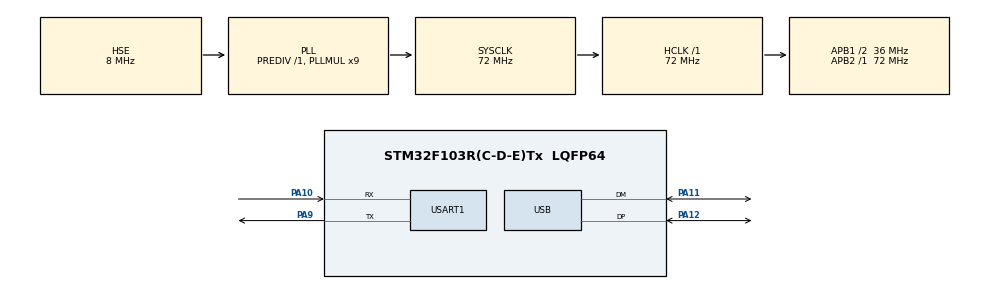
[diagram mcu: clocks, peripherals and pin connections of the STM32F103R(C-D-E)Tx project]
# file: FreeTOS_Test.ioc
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FREERTOS.Tasks01=defaultTask,0,128,StartDefaultTask,Default,NULL,Dynamic,NULL,NULL
Mcu.Family=STM32F1
Mcu.Name=STM32F103R(C-D-E)Tx
Mcu.Package=LQFP64
NVIC.PriorityGroup=NVIC_PRIORITYGROUP_4
NVIC.TIM4_IRQn=true\:15\:0\:false\:false\:true\:false\:false\:true\:true
NVIC.TimeBase=TIM4_IRQn
NVIC.TimeBaseIP=TIM4
PA10.Mode=Asynchronous
PA10.Signal=USART1_RX
PA11.Mode=Device
PA11.Signal=USB_DM
PA12.Mode=Device
PA12.Signal=USB_DP
PA13.Mode=Serial_Wire
PA13.Signal=SYS_JTMS-SWDIO
PA14.Mode=Serial_Wire
PA14.Signal=SYS_JTCK-SWCLK
PA9.Mode=Asynchronous
PA9.Signal=USART1_TX
PD0-OSC_IN.Mode=HSE-External-Oscillator
PD0-OSC_IN.Signal=RCC_OSC_IN
PD1-OSC_OUT.Mode=HSE-External-Oscillator
PD1-OSC_OUT.Signal=RCC_OSC_OUT
ProjectManager.HeapSize=0x200
ProjectManager.StackSize=0x400
ProjectManager.TargetToolchain=Makefile
RCC.AHBFreq_Value=72000000
RCC.APB1CLKDivider=RCC_HCLK_DIV2
RCC.APB1Freq_Value=36000000
RCC.APB1TimFreq_Value=72000000
RCC.APB2Freq_Value=72000000
RCC.APB2TimFreq_Value=72000000
RCC.HCLKFreq_Value=72000000
RCC.PLLMUL=RCC_PLL_MUL9
RCC.SYSCLKFreq_VALUE=72000000
RCC.SYSCLKSource=RCC_SYSCLKSOURCE_PLLCLK
RCC.USBFreq_Value=48000000
RCC.USBPrescaler=RCC_USBCLKSOURCE_PLL_DIV1_5
USART1.VirtualMode=VM_ASYNC
VP_FREERTOS_VS_CMSIS_V1.Mode=CMSIS_V1
VP_SYS_VS_tim4.Mode=TIM4
board=custom

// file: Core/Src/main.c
/* USER CODE BEGIN Header */
/**
  ******************************************************************************
  * @file           : main.c
  * @brief          : Main program body
  ******************************************************************************
  * @attention
  *
  * Copyright (c) 2023 STMicroelectronics.
  * All rights reserved.
  *
  * This software is licensed under terms that can be found in the LICENSE file
  * in the root directory of this software component.
  * If no LICENSE file comes with this software, it is provided AS-IS.
  *
  ******************************************************************************
  */
/* USER CODE END Header */
#include "main.h"
#include "cmsis_os.h"

/* USER CODE BEGIN Includes */
#include "usb_device.h"
int _write(int file, char *data, int len);

/* USER CODE END Includes */

UART_HandleTypeDef huart1;

osThreadId defaultTaskHandle;
/* USER CODE BEGIN PV */
osThreadId AboveNormalHandle;
/* USER CODE END PV */

void SystemClock_Config(void);
static void MX_GPIO_Init(void);
static void MX_USART1_UART_Init(void);

void StartDefaultTask(void const * argument);

/* USER CODE BEGIN PFP */
void TaskAboveNormal(void const *parameter);

/* USER CODE END PFP */

int main(void)
{

  /* MCU Configuration--------------------------------------------------------*/

  /* Reset of all peripherals, Initializes the Flash interface and the Systick. */
  HAL_Init();

  /* Configure the system clock */
  SystemClock_Config();

  /* Initialize all configured peripherals */
  MX_GPIO_Init();
  MX_USART1_UART_Init();

  /* USER CODE BEGIN 2 */
  MX_USB_DEVICE_Init();

  HAL_Delay(4000);
  printf("FreeRTOS ready\n");

  /* USER CODE END 2 */

  /* Create the thread(s) */
  /* definition and creation of defaultTask */
  osThreadDef(defaultTask, StartDefaultTask, osPriorityNormal, 0, 128);
  defaultTaskHandle = osThreadCreate(osThread(defaultTask), NULL);

  /* USER CODE BEGIN RTOS_THREADS */
  /* add threads, ... */
  /* definition and creation of task 1 */

  osThreadDef(Task1, TaskAboveNormal, osPriorityAboveNormal, 0, 128);
  AboveNormalHandle = osThreadCreate(osThread(Task1), NULL);

  /* USER CODE END RTOS_THREADS */

  /* Start scheduler */
  osKernelStart();

  uint32_t tick;
  /* We should never get here as control is now taken by the scheduler */
  /* Infinite loop */
  /* USER CODE BEGIN WHILE */
  while (1)
  {
    if(HAL_GetTick() - tick > 1000)
    {
      printf("tick\n");
      tick = HAL_GetTick();
    }

    /* USER CODE END WHILE */

  }
}

void SystemClock_Config(void)
{
  RCC_OscInitTypeDef RCC_OscInitStruct = {0};
  RCC_ClkInitTypeDef RCC_ClkInitStruct = {0};
  RCC_PeriphCLKInitTypeDef PeriphClkInit = {0};

  /** Initializes the RCC Oscillators according to the specified parameters
  * in the RCC_OscInitTypeDef structure.
  */
  RCC_OscInitStruct.OscillatorType = RCC_OSCILLATORTYPE_HSE;
  RCC_OscInitStruct.HSEState = RCC_HSE_ON;
  RCC_OscInitStruct.HSEPredivValue = RCC_HSE_PREDIV_DIV1;
  RCC_OscInitStruct.HSIState = RCC_HSI_ON;
  RCC_OscInitStruct.PLL.PLLState = RCC_PLL_ON;
  RCC_OscInitStruct.PLL.PLLSource = RCC_PLLSOURCE_HSE;
  RCC_OscInitStruct.PLL.PLLMUL = RCC_PLL_MUL9;
  if (HAL_RCC_OscConfig(&RCC_OscInitStruct) != HAL_OK)
  {
    Error_Handler();
  }

  /** Initializes the CPU, AHB and APB buses clocks
  */
  RCC_ClkInitStruct.ClockType = RCC_CLOCKTYPE_HCLK|RCC_CLOCKTYPE_SYSCLK
                              |RCC_CLOCKTYPE_PCLK1|RCC_CLOCKTYPE_PCLK2;
  RCC_ClkInitStruct.SYSCLKSource = RCC_SYSCLKSOURCE_PLLCLK;
  RCC_ClkInitStruct.AHBCLKDivider = RCC_SYSCLK_DIV1;
  RCC_ClkInitStruct.APB1CLKDivider = RCC_HCLK_DIV2;
  RCC_ClkInitStruct.APB2CLKDivider = RCC_HCLK_DIV1;

  if (HAL_RCC_ClockConfig(&RCC_ClkInitStruct, FLASH_LATENCY_2) != HAL_OK)
  {
    Error_Handler();
  }
  PeriphClkInit.PeriphClockSelection = RCC_PERIPHCLK_USB;
  PeriphClkInit.UsbClockSelection = RCC_USBCLKSOURCE_PLL_DIV1_5;
  if (HAL_RCCEx_PeriphCLKConfig(&PeriphClkInit) != HAL_OK)
  {
    Error_Handler();
  }
}

static void MX_USART1_UART_Init(void)
{

  huart1.Instance = USART1;
  huart1.Init.BaudRate = 115200;
  huart1.Init.WordLength = UART_WORDLENGTH_8B;
  huart1.Init.StopBits = UART_STOPBITS_1;
  huart1.Init.Parity = UART_PARITY_NONE;
  huart1.Init.Mode = UART_MODE_TX_RX;
  huart1.Init.HwFlowCtl = UART_HWCONTROL_NONE;
  huart1.Init.OverSampling = UART_OVERSAMPLING_16;
  if (HAL_UART_Init(&huart1) != HAL_OK)
  {
    Error_Handler();
  }

}

static void MX_GPIO_Init(void)
{

  /* GPIO Ports Clock Enable */
  __HAL_RCC_GPIOD_CLK_ENABLE();
  __HAL_RCC_GPIOA_CLK_ENABLE();

}

/* USER CODE BEGIN 4 */
void TaskAboveNormal(void const *parameter)
{
  uint8_t j = 0;

  while(1)
  {
    printf("Hello from freeRTOS task %d\n", j++);
    osDelay(1000);
    if(j == 5)
    {
      osThreadTerminate(defaultTaskHandle);
    }
  }
  osThreadTerminate(NULL);

}

/* USER CODE END 4 */

void StartDefaultTask(void const * argument)
{
  /* USER CODE BEGIN 5 */
  /* Infinite loop */
  for(int i = 0; i < 5; i++)
  {
    printf("Hello from default task %d\n", i);
    // HAL_Delay(500);
    osDelay(500);
  }
  osThreadTerminate(NULL);
  /* USER CODE END 5 */
}

void HAL_TIM_PeriodElapsedCallback(TIM_HandleTypeDef *htim)
{
  if (htim->Instance == TIM4) {
    HAL_IncTick();
  }
}

void Error_Handler(void)
{
  __disable_irq();
  while (1)
  {
  }
}

int _write(int file, char *data, int len)
{
  if ((file != STDOUT_FILENO) && (file != STDERR_FILENO))
  {
    errno = EBADF;
    return -1;
  }
  uint8_t status = CDC_Transmit_FS((uint8_t *)data, len);
  return status;
}
